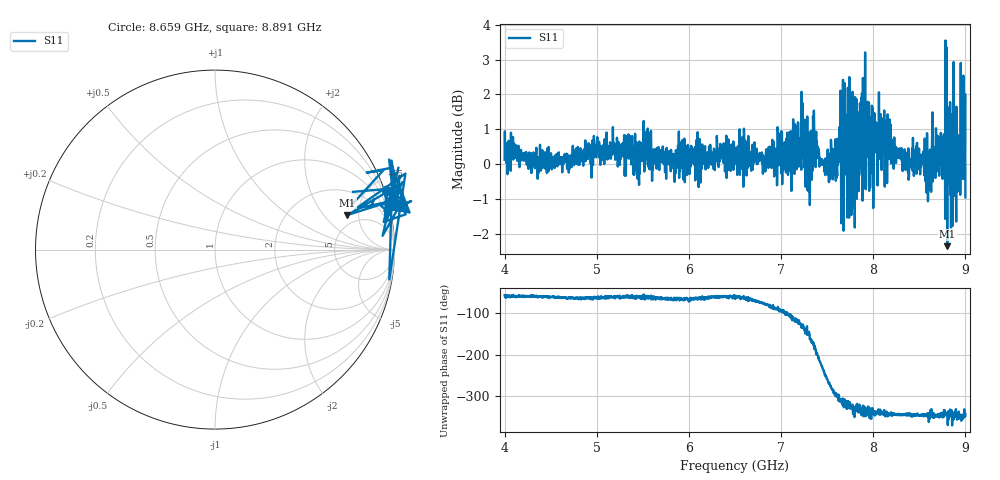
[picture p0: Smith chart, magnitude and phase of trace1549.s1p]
! Created with skrf 1.8.0 (http://scikit-rf.org).
# Hz S RI R 50.0
!freq ReS11 ImS11
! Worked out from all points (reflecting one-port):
!   1601 points, 4 GHz to 9 GHz, reference 50 ohm
!   lowest |S11| = -2.4 dB at 8.803 GHz (marker M1), VSWR 7.41, Z = 198 + j182 ohm
!   phase of S11 starts at -57 deg and turns -286 deg over the sweep
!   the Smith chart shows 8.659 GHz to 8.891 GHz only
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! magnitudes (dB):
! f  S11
! 4 GHz  0.1
! 4.625 GHz  -0.2
! 5.25 GHz  0.0
! 5.875 GHz  0.1
! 6.5 GHz  0.4
! 6.825 GHz  0.2
! 7.125 GHz  0.5
! 7.234 GHz  1.8
! 7.288 GHz  -0.8
! 7.372 GHz  0.8
! 7.512 GHz  0.0
! 7.588 GHz  0.2
! 7.688 GHz  1.3
! 7.75 GHz  -0.2
! 7.784 GHz  0.3
! 7.928 GHz  1.1
! 7.981 GHz  -0.1
! 8.038 GHz  0.8
! 8.375 GHz  0.0
! 8.55 GHz  0.0
! 8.603 GHz  0.3
! 8.656 GHz  0.5
! 8.803 GHz  -2.4
! 8.841 GHz  1.4
! 8.891 GHz  1.4
! 8.919 GHz  -0.8
! 8.972 GHz  0.4
! 9 GHz  -1.0
